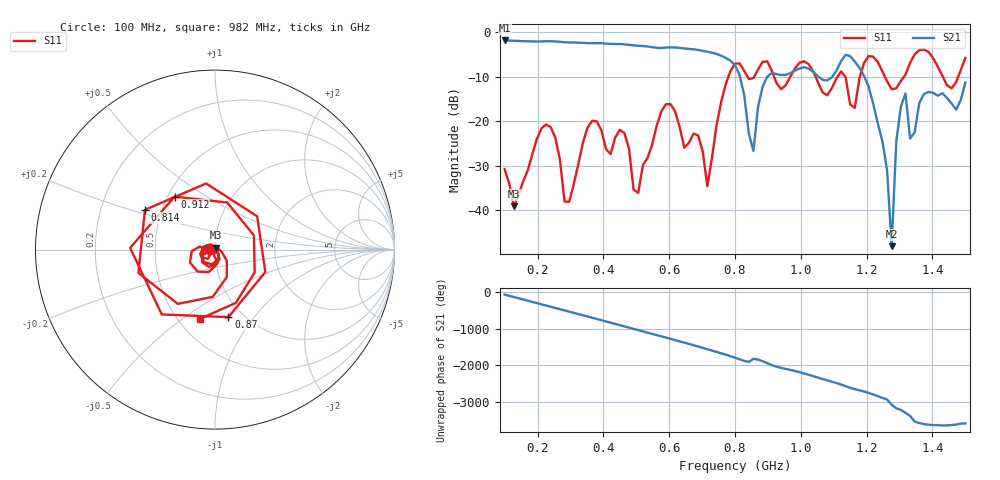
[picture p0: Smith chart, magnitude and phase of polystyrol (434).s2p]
! NanoVNA-App
! Date: 2025-09-25 15:33:16
! Start: 100MHz Stop: 1,5GHz Points: 101
! S-Parameter data: F S11 S21 S12 S22
# Hz S RI R 50
!  Frequency  S11_Real  S11_Imag  S21_Real  S21_Imag  S12_Real  S12_Imag  S22_Real  S22_Imag
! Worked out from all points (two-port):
!   101 points, 100 MHz to 1.5 GHz, reference 50 ohm
!   highest |S21| = -1.80 dB at 100 MHz (marker M1); lowest = -48.0 dB at 1.276 GHz (marker M2)
!   |S21| within 3 dB of the highest: start of sweep to 743 MHz
!   lowest |S11| = -39.1 dB at 128 MHz (marker M3), VSWR 1.02, Z = 50.3 + j1.06 ohm
!   |S11| at or under -10 dB: start of sweep to 779.7 MHz; 1.045 GHz to 1.112 GHz (66.58 MHz wide, 6.17 % of centre); 1.136 GHz to 1.179 GHz (43.2 MHz wide, 3.73 % of centre) (the widest 3 of 7)
!   S12 and S22 are empty: the file has one direction only
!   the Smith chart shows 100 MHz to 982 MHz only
!   S11 on the Smith chart (normalised r, x): 100 MHz: 0.94, -0.01; 814 MHz: 0.40, +0.22; 870 MHz: 0.85, -0.75; 912 MHz: 0.54, +0.37; 982 MHz: 0.64, -0.58
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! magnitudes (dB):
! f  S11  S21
! 100 MHz  -30.7  -1.8
! 128 MHz  -39.1  -1.9
! 212 MHz  -21.6  -2.0
! 282 MHz  -38.0  -2.2
! 338 MHz  -24.7  -2.3
! 464 MHz  -22.6  -2.7
! 506 MHz  -36.0  -3.0
! 576 MHz  -17.8  -3.5
! 716 MHz  -34.5  -4.3
! 800 MHz  -7.0  -7.3
! 814 MHz  -7.0  -9.6
! 856 MHz  -10.3  -26.6
! 870 MHz  -8.3  -16.7
! 912 MHz  -8.6  -9.1
! 982 MHz  -8.1  -8.6
! 1.038 GHz  -8.8  -8.9
! 1.192 GHz  -6.9  -9.8
! 1.262 GHz  -11.0  -30.9
! 1.276 GHz  -12.8  -48.0
! 1.29 GHz  -12.6  -24.4
! 1.318 GHz  -9.5  -13.7
! 1.5 GHz  -5.7  -11.2
